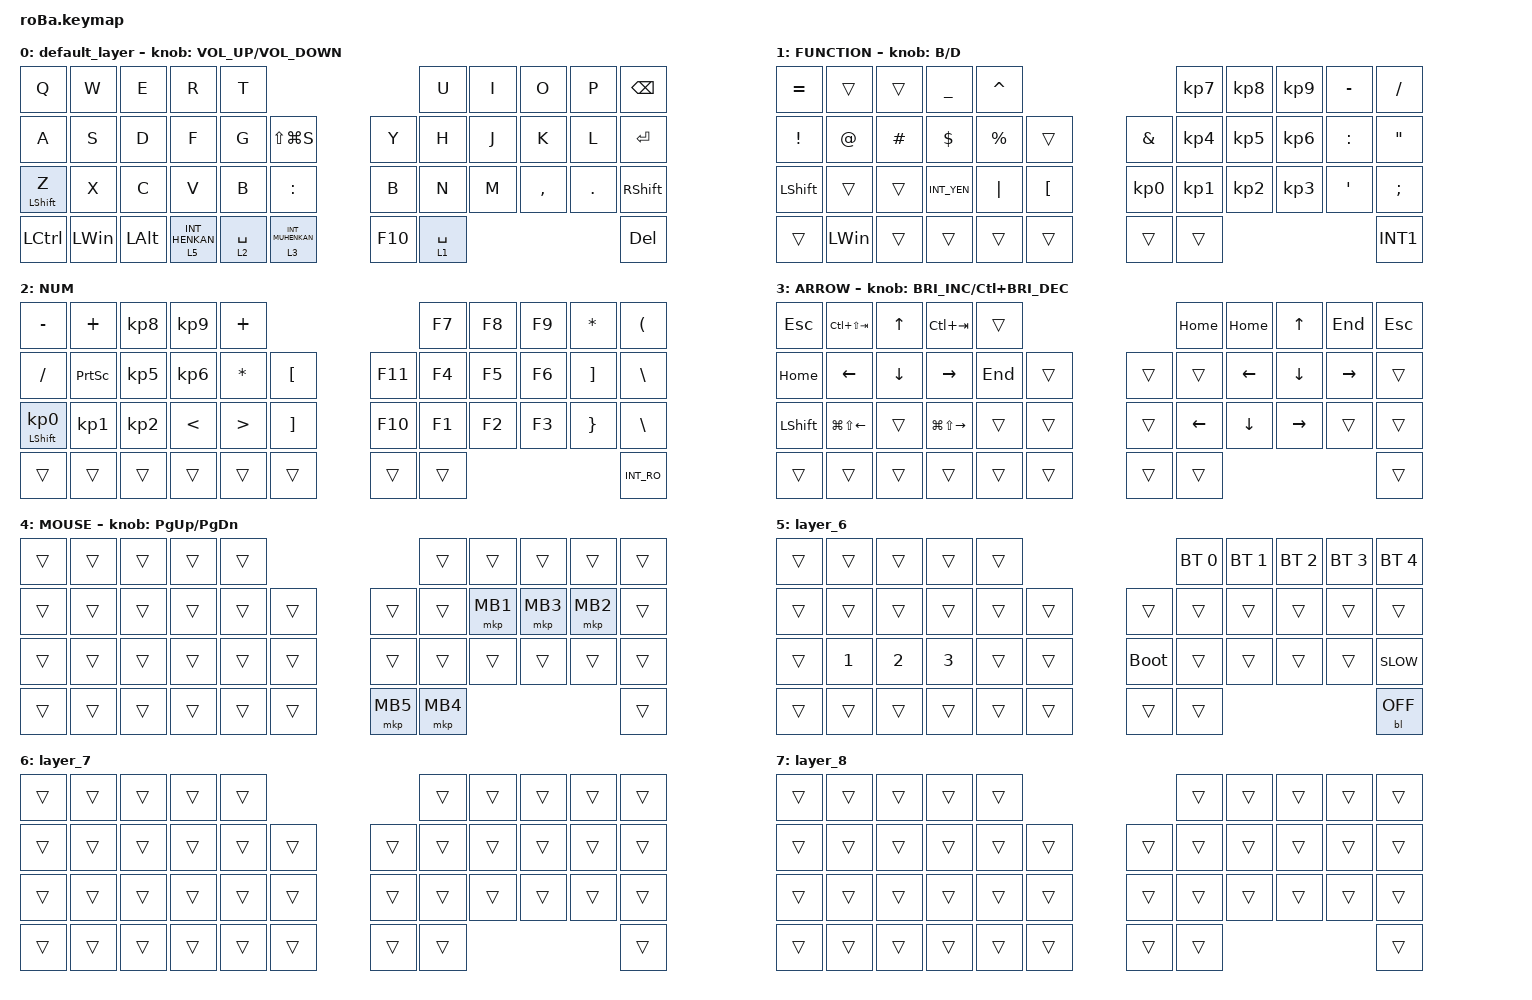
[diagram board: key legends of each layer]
#include <behaviors.dtsi>
#include <dt-bindings/zmk/backlight.h>
#include <dt-bindings/zmk/bt.h>
#include <dt-bindings/zmk/keys.h>
#include <dt-bindings/zmk/pointing.h>

#define MOUSE 4
#define SCROLL 5
#define NUM 6

&mt {
    flavor = "balanced";
    quick-tap-ms = <0>;
};

/ {
    combos {
        compatible = "zmk,combos";

        tab {
            bindings = <&kp TAB>;
            key-positions = <11 12>;
        };

        shift_tab {
            bindings = <&kp LS(TAB)>;
            key-positions = <12 13>;
        };

        muhennkann {
            bindings = <&to_layer_0 INT_MUHENKAN>;
            key-positions = <11 10>;
        };

        double_quotation {
            bindings = <&kp DOUBLE_QUOTES>;
            key-positions = <20 21>;
        };

        eq {
            bindings = <&kp EQUAL>;
            key-positions = <24 25>;
        };

        qes {
            bindings = <&kp QUESTION>;
            key-positions = <29 30>;
        };
    };

    macros {
        to_layer_0: to_layer_0 {
            compatible = "zmk,behavior-macro-one-param";
            #binding-cells = <1>;
            bindings = <&to 0 &macro_param_1to1 &kp MACRO_PLACEHOLDER>;
            label = "TO_LAYER_0";
        };
    };

    behaviors {
        lt_to_layer_0: lt_to_layer_0 {
            compatible = "zmk,behavior-hold-tap";
            label = "LAYER_TAP_TO_0";
            bindings = <&mo>, <&to_layer_0>;

            #binding-cells = <2>;
            tapping-term-ms = <200>;
        };
    };

    keymap {
        compatible = "zmk,keymap";

        default_layer {
            bindings = <
&kp Q             &kp W         &kp E         &kp R                        &kp T                                                    &kp U        &kp I  &kp O      &kp P    &kp BACKSPACE
&kp A             &kp S         &kp D         &kp F                        &kp G        &kp LS(LG(S))                      &kp Y    &kp H        &kp J  &kp K      &kp L    &kp ENTER
&mt LEFT_SHIFT Z  &kp X         &kp C         &kp V                        &kp B        &kp COLON                          &kp B    &kp N        &kp M  &kp COMMA  &kp DOT  &kp RSHIFT
&kp LCTRL         &kp LEFT_WIN  &kp LEFT_ALT  &lt_to_layer_0 5 INT_HENKAN  &lt 2 SPACE  &lt_to_layer_0 3 INT_MUHENKAN      &kp F10  &lt 1 SPACE                             &kp DEL
            >;

            sensor-bindings = <&inc_dec_kp C_VOLUME_UP C_VOLUME_DOWN>;
        };

        FUNCTION {
            bindings = <
&kp EQUAL        &trans        &trans    &kp UNDERSCORE  &kp CARET                                           &kp KP_NUMBER_7  &kp KP_NUMBER_8  &kp KP_NUMBER_9  &kp MINUS         &kp SLASH
&kp EXCLAMATION  &kp AT        &kp HASH  &kp DOLLAR      &kp PERCENT  &trans                &kp AMPERSAND    &kp KP_NUMBER_4  &kp KP_NUMBER_5  &kp KP_NUMBER_6  &kp COLON         &kp DOUBLE_QUOTES
&kp LEFT_SHIFT   &trans        &trans    &kp INT_YEN     &kp PIPE     &kp LEFT_BRACKET      &kp KP_NUMBER_0  &kp KP_NUMBER_1  &kp KP_NUMBER_2  &kp KP_NUMBER_3  &kp SINGLE_QUOTE  &kp SEMICOLON
&trans           &kp LEFT_WIN  &trans    &trans          &trans       &trans                &trans           &trans                                                               &kp INT1
            >;

            sensor-bindings = <&inc_dec_kp B D>;
        };

        NUM {
            bindings = <
&kp MINUS                   &kp PLUS         &kp KP_NUMBER_8  &kp KP_NUMBER_9  &kp PLUS                                          &kp F7  &kp F8  &kp F9  &kp STAR           &kp LEFT_PARENTHESIS
&kp SLASH                   &kp PRINTSCREEN  &kp KP_NUMBER_5  &kp KP_NUMBER_6  &kp ASTERISK      &kp LEFT_BRACKET       &kp F11  &kp F4  &kp F5  &kp F6  &kp RIGHT_BRACKET  &kp BACKSLASH
&mt LEFT_SHIFT KP_NUMBER_0  &kp KP_NUMBER_1  &kp KP_NUMBER_2  &kp LESS_THAN    &kp GREATER_THAN  &kp RIGHT_BRACKET      &kp F10  &kp F1  &kp F2  &kp F3  &kp RIGHT_BRACE    &kp BACKSLASH
&trans                      &trans           &trans           &trans           &trans            &trans                 &trans   &trans                                     &kp INT_RO
            >;
        };

        ARROW {
            bindings = <
&kp ESCAPE      &kp LC(LS(TAB))         &kp UP_ARROW    &kp LC(TAB)              &trans                       &kp HOME        &kp HOME        &kp UP_ARROW     &kp END          &kp ESCAPE
&kp HOME        &kp LEFT_ARROW          &kp DOWN_ARROW  &kp RIGHT_ARROW          &kp END  &trans      &trans  &trans          &kp LEFT_ARROW  &kp DOWN_ARROW   &kp RIGHT_ARROW  &trans
&kp LEFT_SHIFT  &kp LG(LS(LEFT_ARROW))  &trans          &kp LG(LS(RIGHT_ARROW))  &trans   &trans      &trans  &kp LEFT_ARROW  &kp DOWN_ARROW  &kp RIGHT_ARROW  &trans           &trans
&trans          &trans                  &trans          &trans                   &trans   &trans      &trans  &trans                                                            &trans
            >;

            sensor-bindings = <&inc_dec_kp C_BRIGHTNESS_INC LC(C_BRIGHTNESS_DEC)>;
        };

        MOUSE {
            bindings = <
&trans  &trans  &trans  &trans  &trans                        &trans    &trans    &trans    &trans    &trans
&trans  &trans  &trans  &trans  &trans  &trans      &trans    &trans    &mkp MB1  &mkp MB3  &mkp MB2  &trans
&trans  &trans  &trans  &trans  &trans  &trans      &trans    &trans    &trans    &trans    &trans    &trans
&trans  &trans  &trans  &trans  &trans  &trans      &mkp MB5  &mkp MB4                                &trans
            >;

            sensor-bindings = <&inc_dec_kp PAGE_UP PAGE_DOWN>;
        };

        layer_6 {
            bindings = <
&trans  &trans        &trans        &trans        &trans                           &bt BT_SEL 0  &bt BT_SEL 1  &bt BT_SEL 2  &bt BT_SEL 3  &bt BT_SEL 4
&trans  &trans        &trans        &trans        &trans  &trans      &trans       &trans        &trans        &trans        &trans        &trans
&trans  &kp NUMBER_1  &kp NUMBER_2  &kp NUMBER_3  &trans  &trans      &bootloader  &trans        &trans        &trans        &trans        &kp C_SLOW
&trans  &trans        &trans        &trans        &trans  &trans      &trans       &trans                                                  &bl BL_OFF
            >;
        };

        layer_7 {
            bindings = <
&trans  &trans  &trans  &trans  &trans                      &trans  &trans  &trans  &trans  &trans
&trans  &trans  &trans  &trans  &trans  &trans      &trans  &trans  &trans  &trans  &trans  &trans
&trans  &trans  &trans  &trans  &trans  &trans      &trans  &trans  &trans  &trans  &trans  &trans
&trans  &trans  &trans  &trans  &trans  &trans      &trans  &trans                          &trans
            >;
        };

        layer_8 {
            bindings = <
&trans  &trans  &trans  &trans  &trans                      &trans  &trans  &trans  &trans  &trans
&trans  &trans  &trans  &trans  &trans  &trans      &trans  &trans  &trans  &trans  &trans  &trans
&trans  &trans  &trans  &trans  &trans  &trans      &trans  &trans  &trans  &trans  &trans  &trans
&trans  &trans  &trans  &trans  &trans  &trans      &trans  &trans                          &trans
            >;
        };
    };
};
